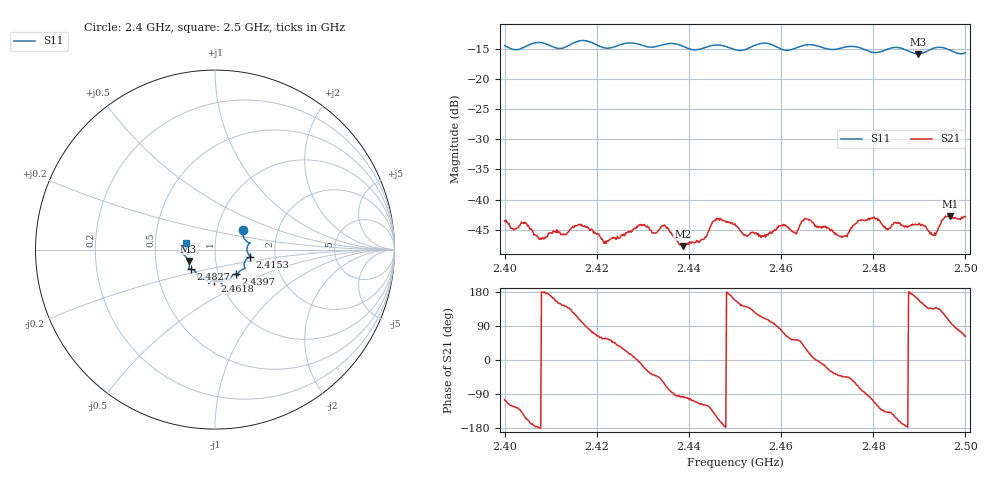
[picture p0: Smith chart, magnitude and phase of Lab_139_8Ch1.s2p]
# Hz S RI R 50
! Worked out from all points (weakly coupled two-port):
!   601 points, 2.4 GHz to 2.5 GHz, reference 50 ohm
!   highest |S21| = -42.69 dB at 2.4967 GHz (marker M1); lowest = -47.7 dB at 2.4387 GHz (marker M2)
!   lowest |S11| = -15.9 dB at 2.4897 GHz (marker M3), VSWR 1.38, Z = 36.9 - j4.81 ohm
!   |S11| at or under -10 dB: start of sweep to end of sweep
!   S12 and S22 are empty: the file has one direction only
!   S11 on the Smith chart (normalised r, x): 2.4 GHz: 1.33, +0.29; 2.4153 GHz: 1.48, -0.12; 2.4397 GHz: 1.21, -0.34; 2.4618 GHz: 0.94, -0.33; 2.4827 GHz: 0.75, -0.17; 2.5 GHz: 0.72, +0.06
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2.4e9  0.1552 0.1068  -0.00166 -0.00643  0 0  0 0
2.408e9  0.1953 0.0375  -0.0047 6.99e-05  0 0  0 0
2.415333e9  0.1967 -0.0391  -0.00286 0.00534  0 0  0 0
2.416667e9  0.2026 -0.0432  -0.00118 0.00612  0 0  0 0
2.422e9  0.1674 -0.0645  0.00239 0.0036  0 0  0 0
2.4295e9  0.1579 -0.1079  0.00615 -0.000922  0 0  0 0
2.433333e9  0.1299 -0.1341  0.00397 -0.00386  0 0  0 0
2.438667e9  0.1246 -0.138  -0.000555 -0.00408  0 0  0 0
2.439667e9  0.1166 -0.1361  -0.000701 -0.0042  0 0  0 0
2.446e9  0.0839 -0.1709  -0.00602 -0.00359  0 0  0 0
2.45e9  0.0644 -0.1618  -0.00582 0.00239  0 0  0 0
2.452333e9  0.0419 -0.1701  -0.00395 0.0032  0 0  0 0
2.461833e9  -0.00305 -0.1728  0.00309 0.00484  0 0  0 0
2.466667e9  -0.0347 -0.1881  0.00645 0.00104  0 0  0 0
2.473e9  -0.0808 -0.1601  0.00371 -0.00332  0 0  0 0
2.477167e9  -0.0971 -0.152  0.00161 -0.00653  0 0  0 0
2.482667e9  -0.1351 -0.1088  -0.00416 -0.00397  0 0  0 0
2.483333e9  -0.1402 -0.1084  -0.00418 -0.00385  0 0  0 0
2.489667e9  -0.1473 -0.0635  -0.00591 0.00191  0 0  0 0
2.493167e9  -0.1775 -0.0255  -0.00361 0.00357  0 0  0 0
2.496667e9  -0.1723 -0.0102  -0.00123 0.00723  0 0  0 0
2.5e9  -0.1591 0.0389  0.00338 0.00636  0 0  0 0
